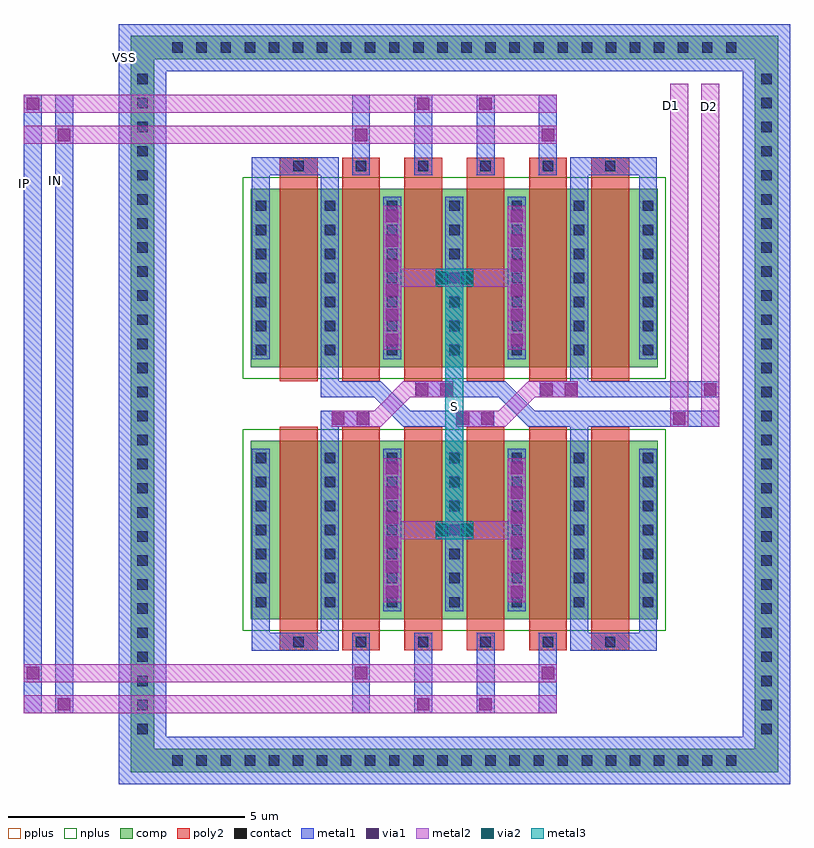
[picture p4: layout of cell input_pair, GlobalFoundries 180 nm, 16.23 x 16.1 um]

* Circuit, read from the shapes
.subckt input_pair D1 D2 IN IP S VSS
XM1 D1 D1 D1 VSS nfet_03v3 w=3.78u l=0.8u m=2
XM2 D2 D2 D2 VSS nfet_03v3 w=3.78u l=0.8u m=2
XM3 S IP D1 VSS nfet_03v3 w=3.78u l=0.8u m=4
XM4 S IN D2 VSS nfet_03v3 w=3.78u l=0.8u m=4
.ends

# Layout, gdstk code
import gdstk
lib = gdstk.Library(unit=1e-6, precision=1e-09)
def R(c, l, rs):  # rectangles x0, y0, x1, y1
    for r in rs: c.add(gdstk.rectangle(r[:2], r[2:], *l))
def A(c, l, x, y, w, h, nx, ny, dx, dy):  # array of equal rectangles
    R(c, l, [(x+i*dx, y+j*dy, x+i*dx+w, y+j*dy+h) for i in range(nx) for j in range(ny)])
comp = (22, 0)
poly2 = (30, 0)
pplus = (31, 0)
nplus = (32, 0)
contact = (33, 0)
metal1 = (34, 0)
via1 = (35, 0)
metal2 = (36, 0)
via2 = (38, 0)
metal3 = (42, 0)

nfet_7 = lib.new_cell('nfet$7')
R(nfet_7, comp, [(-0.42,0,0,3.78), (0,0,7.78,3.78), (7.78,0,8.2,3.78)])
A(nfet_7, poly2, 0.19, -0.3, 0.8, 4.38, 6, 1, 1.32, 0)
A(nfet_7, poly2, 0.19, 4.08, 0.8, 0.36, 6, 1, 1.32, 0)
R(nfet_7, nplus, [(-0.59,-0.24,8.37,4.02)])
A(nfet_7, contact, -0.32, 0.25, 0.22, 0.22, 1, 7, 0, 0.51)
A(nfet_7, contact, 1.14, 0.25, 0.22, 0.22, 5, 7, 1.32, 0.51)
A(nfet_7, contact, 7.88, 0.25, 0.22, 0.22, 1, 7, 0, 0.51)
A(nfet_7, contact, 0.48, 4.15, 0.22, 0.22, 6, 1, 1.32, 0)
A(nfet_7, metal1, 1.06, 0.17, 0.38, 3.44, 5, 1, 1.32, 0)
A(nfet_7, metal1, 0.4, 4.07, 0.38, 0.38, 6, 1, 1.32, 0)
R(nfet_7, metal1, [(-0.4,0.17,-0.02,3.61), (7.8,0.17,8.18,3.61)])

input_pair = lib.new_cell('input_pair')
A(input_pair, contact, -5.515, -9.275, 0.22, 0.22, 24, 2, 0.51, 15.1)
A(input_pair, contact, -6.26, -8.61, 0.22, 0.22, 1, 28, 0, 0.51)
A(input_pair, contact, 6.96, -8.61, 0.22, 0.22, 1, 28, 0, 0.51)
A(input_pair, via1, -0.99, -5.195, 0.26, 0.26, 1, 3, 0, 0.52)
A(input_pair, via1, 1.65, -5.195, 0.26, 0.26, 1, 3, 0, 0.52)
A(input_pair, via1, -0.99, 0.145, 0.26, 0.26, 1, 3, 0, 0.52)
A(input_pair, via1, 1.65, 0.145, 0.26, 0.26, 1, 3, 0, 0.52)
R(input_pair, via1, [(-7.94,-8.105,-7.68,-7.845), (-0.33,-8.105,-0.07,-7.845), (0.99,-8.105,1.25,-7.845), (-8.6,-7.445,-8.34,-7.185), (-1.65,-7.445,-1.39,-7.185), (2.31,-7.445,2.57,-7.185), (-0.99,-5.73,-0.73,-5.47), (1.65,-5.73,1.91,-5.47), (-0.99,-3.62,-0.73,-3.36), (1.65,-3.62,1.91,-3.36), (-0.99,-3.1,-0.73,-2.84), (1.65,-3.1,1.91,-2.84), (-2.13,-2.055,-1.87,-1.795), (-1.61,-2.055,-1.35,-1.795), (0.51,-2.055,0.77,-1.795), (1.03,-2.055,1.29,-1.795), (5.09,-2.055,5.35,-1.795), (-0.36,-1.435,-0.1,-1.175), (0.16,-1.435,0.42,-1.175), (2.28,-1.435,2.54,-1.175), (2.8,-1.435,3.06,-1.175), (5.75,-1.435,6.01,-1.175), (-0.99,-0.39,-0.73,-0.13), (1.65,-0.39,1.91,-0.13), (-0.99,1.72,-0.73,1.98), (1.65,1.72,1.91,1.98), (-0.99,2.24,-0.73,2.5), (1.65,2.24,1.91,2.5), (-7.94,3.955,-7.68,4.215), (-1.65,3.955,-1.39,4.215), (2.31,3.955,2.57,4.215), (-8.6,4.615,-8.34,4.875), (-0.33,4.615,-0.07,4.875), (0.99,4.615,1.25,4.875)])
R(input_pair, via2, [(0.07,-4.415,0.33,-4.155), (0.59,-4.415,0.85,-4.155), (0.07,0.925,0.33,1.185), (0.59,0.925,0.85,1.185)])
input_pair.add(gdstk.FlexPath([(-8.47,-8.165),(-8.47,4.935)], 0.38, ends="flush", simple_path=True, layer=34, datatype=0))  # metal1
input_pair.add(gdstk.FlexPath([(-7.81,-8.165),(-7.81,4.935)], 0.38, ends="flush", simple_path=True, layer=34, datatype=0))  # metal1
input_pair.add(gdstk.FlexPath([(-0.37,-1.305),(1.47,-1.305),(2.09,-1.925),(6.07,-1.925)], 0.34, ends="flush", simple_path=True, layer=34, datatype=0))  # metal1
input_pair.add(gdstk.FlexPath([(-2.37,-1.305),(-1.17,-1.305),(-0.55,-1.925),(1.3,-1.925)], 0.34, ends="flush", simple_path=True, layer=34, datatype=0))  # metal1
input_pair.add(gdstk.FlexPath([(-2.37,-1.925),(-1.34,-1.925)], 0.34, ends="flush", simple_path=True, layer=34, datatype=0))  # metal1
input_pair.add(gdstk.FlexPath([(2.27,-1.305),(6.07,-1.305)], 0.34, ends="flush", simple_path=True, layer=34, datatype=0))  # metal1
input_pair.add(gdstk.FlexPath([(0.46,-2.095),(0.46,-2.565)], 0.38, ends="flush", simple_path=True, layer=34, datatype=0))  # metal1
input_pair.add(gdstk.FlexPath([(-2.18,-0.665),(-2.18,-1.135)], 0.38, ends="flush", simple_path=True, layer=34, datatype=0))  # metal1
input_pair.add(gdstk.FlexPath([(-2.18,-2.095),(-2.18,-2.565)], 0.38, ends="flush", simple_path=True, layer=34, datatype=0))  # metal1
input_pair.add(gdstk.FlexPath([(0.46,-0.665),(0.46,-1.135)], 0.38, ends="flush", simple_path=True, layer=34, datatype=0))  # metal1
input_pair.add(gdstk.FlexPath([(3.1,-2.095),(3.1,-2.565)], 0.38, ends="flush", simple_path=True, layer=34, datatype=0))  # metal1
input_pair.add(gdstk.FlexPath([(3.1,-0.665),(3.1,-1.135)], 0.38, ends="flush", simple_path=True, layer=34, datatype=0))  # metal1
input_pair.add(gdstk.FlexPath([(3.1,2.775),(3.1,3.425),(4.56,3.425),(4.56,2.775)], 0.38, ends="flush", simple_path=True, layer=34, datatype=0))  # metal1
input_pair.add(gdstk.FlexPath([(-3.64,2.775),(-3.64,3.425),(-2.18,3.425),(-2.18,2.775)], 0.38, ends="flush", simple_path=True, layer=34, datatype=0))  # metal1
input_pair.add(gdstk.FlexPath([(3.1,-6.005),(3.1,-6.655),(4.56,-6.655),(4.56,-6.005)], 0.38, ends="flush", simple_path=True, layer=34, datatype=0))  # metal1
input_pair.add(gdstk.FlexPath([(-3.64,-6.005),(-3.64,-6.655),(-2.18,-6.655),(-2.18,-6.005)], 0.38, ends="flush", simple_path=True, layer=34, datatype=0))  # metal1
input_pair.add(gdstk.FlexPath([(2.44,3.615),(2.44,4.935)], 0.38, ends="flush", simple_path=True, layer=34, datatype=0))  # metal1
input_pair.add(gdstk.FlexPath([(1.12,3.615),(1.12,4.935)], 0.38, ends="flush", simple_path=True, layer=34, datatype=0))  # metal1
input_pair.add(gdstk.FlexPath([(-1.52,3.615),(-1.52,4.935)], 0.38, ends="flush", simple_path=True, layer=34, datatype=0))  # metal1
input_pair.add(gdstk.FlexPath([(-0.2,3.615),(-0.2,4.935)], 0.38, ends="flush", simple_path=True, layer=34, datatype=0))  # metal1
input_pair.add(gdstk.FlexPath([(2.44,-8.165),(2.44,-6.845)], 0.38, ends="flush", simple_path=True, layer=34, datatype=0))  # metal1
input_pair.add(gdstk.FlexPath([(1.12,-8.165),(1.12,-6.845)], 0.38, ends="flush", simple_path=True, layer=34, datatype=0))  # metal1
input_pair.add(gdstk.FlexPath([(-1.52,-8.165),(-1.52,-6.845)], 0.38, ends="flush", simple_path=True, layer=34, datatype=0))  # metal1
input_pair.add(gdstk.FlexPath([(-0.2,-8.165),(-0.2,-6.845)], 0.38, ends="flush", simple_path=True, layer=34, datatype=0))  # metal1
input_pair.add(gdstk.FlexPath([(-5.65,5.935),(7.07,5.935),(7.07,-9.165),(-6.15,-9.165),(-6.15,6.435)], 1, ends="flush", simple_path=True, layer=34, datatype=0))  # metal1
input_pair.add(gdstk.FlexPath([(-5.9,5.935),(7.07,5.935),(7.07,-9.165),(-6.15,-9.165),(-6.15,6.185)], 0.5, ends="flush", simple_path=True, layer=22, datatype=0))  # comp
input_pair.add(gdstk.FlexPath([(-5.65,5.935),(7.07,5.935),(7.07,-9.165),(-6.15,-9.165),(-6.15,6.435)], 1, ends="flush", simple_path=True, layer=31, datatype=0))  # pplus
input_pair.add(gdstk.FlexPath([(-2.14,-1.925),(-1.17,-1.925),(-0.55,-1.305),(0.43,-1.305)], 0.34, ends="flush", simple_path=True, layer=36, datatype=0))  # metal2
input_pair.add(gdstk.FlexPath([(-0.86,-0.47),(-0.86,2.58)], 0.38, ends="flush", simple_path=True, layer=36, datatype=0))  # metal2
input_pair.add(gdstk.FlexPath([(-0.86,-5.81),(-0.86,-2.76)], 0.38, ends="flush", simple_path=True, layer=36, datatype=0))  # metal2
input_pair.add(gdstk.FlexPath([(1.78,-5.81),(1.78,-2.76)], 0.38, ends="flush", simple_path=True, layer=36, datatype=0))  # metal2
input_pair.add(gdstk.FlexPath([(-0.67,1.055),(1.59,1.055)], 0.38, ends="flush", simple_path=True, layer=36, datatype=0))  # metal2
input_pair.add(gdstk.FlexPath([(-0.67,-4.285),(1.59,-4.285)], 0.38, ends="flush", simple_path=True, layer=36, datatype=0))  # metal2
input_pair.add(gdstk.FlexPath([(0.5,-1.925),(1.47,-1.925),(2.09,-1.305),(3.07,-1.305)], 0.34, ends="flush", simple_path=True, layer=36, datatype=0))  # metal2
input_pair.add(gdstk.FlexPath([(2.63,4.085),(-8.66,4.085)], 0.38, ends="flush", simple_path=True, layer=36, datatype=0))  # metal2
input_pair.add(gdstk.FlexPath([(2.63,4.745),(-8.66,4.745)], 0.38, ends="flush", simple_path=True, layer=36, datatype=0))  # metal2
input_pair.add(gdstk.FlexPath([(2.63,-7.975),(-8.66,-7.975)], 0.38, ends="flush", simple_path=True, layer=36, datatype=0))  # metal2
input_pair.add(gdstk.FlexPath([(2.63,-7.315),(-8.66,-7.315)], 0.38, ends="flush", simple_path=True, layer=36, datatype=0))  # metal2
input_pair.add(gdstk.FlexPath([(5.22,-2.095),(5.22,5.165)], 0.38, ends="flush", simple_path=True, layer=36, datatype=0))  # metal2
input_pair.add(gdstk.FlexPath([(5.88,-2.095),(5.88,5.165)], 0.38, ends="flush", simple_path=True, layer=36, datatype=0))  # metal2
input_pair.add(gdstk.FlexPath([(1.78,-0.47),(1.78,2.58)], 0.38, ends="flush", simple_path=True, layer=36, datatype=0))  # metal2
input_pair.add(gdstk.FlexPath([(0.46,1.245),(0.46,-4.475)], 0.38, ends="flush", simple_path=True, layer=42, datatype=0))  # metal3
input_pair.add(gdstk.FlexPath([(0.06,1.055),(0.86,1.055)], 0.38, ends="flush", simple_path=True, layer=42, datatype=0))  # metal3
input_pair.add(gdstk.FlexPath([(0.06,-4.285),(0.86,-4.285)], 0.38, ends="flush", simple_path=True, layer=42, datatype=0))  # metal3
input_pair.add(gdstk.Reference(nfet_7, (-3.43,-0.835)))
input_pair.add(gdstk.Reference(nfet_7, (-3.43,-2.395), x_reflection=True))
input_pair.add(gdstk.Label('IP', (-8.645,3.065), layer=34, texttype=0))
input_pair.add(gdstk.Label('IN', (-7.985,3.115), layer=34, texttype=0))
input_pair.add(gdstk.Label('VSS', (-6.53,5.73), layer=34, texttype=10))
input_pair.add(gdstk.Label('S', (0.46,-1.66), layer=42, texttype=10))
input_pair.add(gdstk.Label('D1', (5.055,4.705), layer=36, texttype=10))
input_pair.add(gdstk.Label('D2', (5.86,4.685), layer=36, texttype=10))

lib.write_gds('input_pair.gds')
